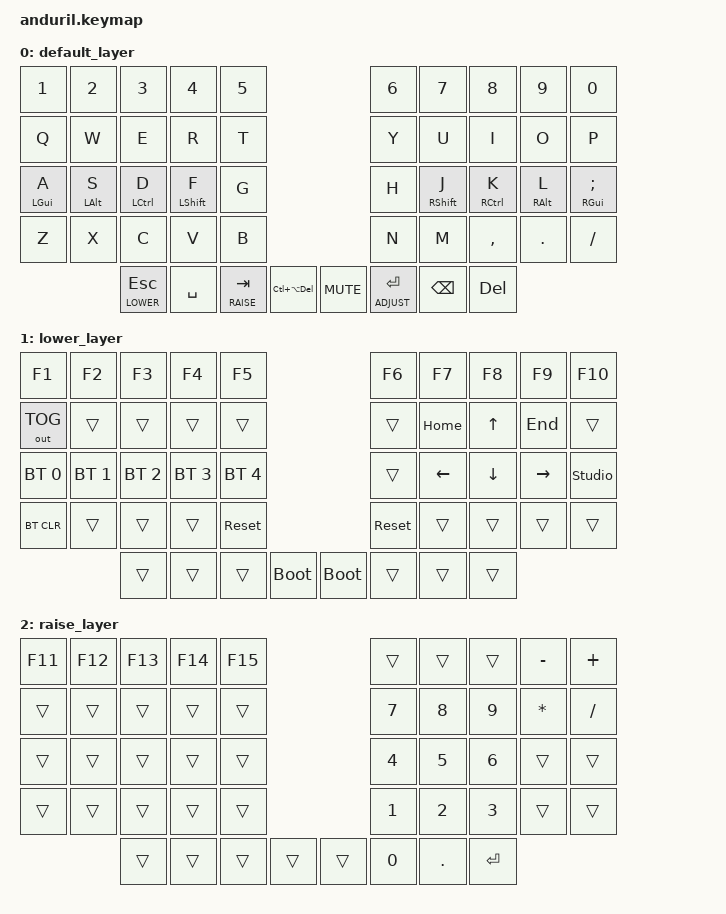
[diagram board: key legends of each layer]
/*
 * Copyright (c) 2024 Your Name
 *
 * SPDX-License-Identifier: MIT
 */

#include <behaviors.dtsi>
#include <dt-bindings/zmk/keys.h>
#include <dt-bindings/zmk/bt.h>

#define DEFAULT 0
#define LOWER   1
#define RAISE   2

/ {
    behaviors {
        // Home row mod tap settings
        hrm: home_row_mods {
            compatible = "zmk,behavior-hold-tap";
            label = "HOME_ROW_MODS";
            #binding-cells = <2>;
            tapping-term-ms = <200>;
            quick-tap-ms = <0>;
            flavor = "tap-preferred";
            bindings = <&kp>, <&kp>;
        };
        
        // Studio-specific unlock behavior
        studio_unlock: studio_unlock {
            compatible = "zmk,behavior-key-press";
            label = "STUDIO_UNLOCK";
            #binding-cells = <0>;
            bindings = <&kp LS(F6)>;
        };
    };

    keymap {
        compatible = "zmk,keymap";

        default_layer {
            // ------------------------------------------------------------------------------------------------------------
            // |  1  |  2  |  3   |  4   |  5   |                   |  6   |  7    |  8    |  9   |   0   |
            // |  Q  |  W  |  E   |  R   |  T   |                   |  Y   |  U    |  I    |  O   |   P   |
            // |  A  |  S  |  D   |  F   |  G   |                   |  H   |  J    |  K    |  L   |   ;   |
            // |  Z  |  X  |  C   |  V   |  B   | C/A/D|    | MUTE  |  N   |  M    |  ,    |  .   |   /   |
            //                    | ESC  | SPACE| TAB  |    | ENTER |  BS  |  DEL  | 

            bindings = <
//╭──────────────┬──────────────┬──────────────┬──────────────┬──────────────╮                                     ╭──────────────┬──────────────┬──────────────┬──────────────┬─────────────────────╮
        &kp N1      &kp N2          &kp N3          &kp N4          &kp N5                                             &kp N6           &kp N7          &kp N8          &kp N9          &kp N0
//├──────────────┼──────────────┼──────────────┼──────────────┼──────────────┤                                     ├──────────────┼──────────────┼──────────────┼──────────────┼─────────────────────┤
        &kp Q         &kp W            &kp E           &kp R            &kp T                                          &kp Y           &kp U            &kp I            &kp O            &kp P
//├──────────────┼──────────────┼──────────────┼──────────────┼──────────────┤                                     ├──────────────┼──────────────┼──────────────┼──────────────┼─────────────────────┤
     &hrm LGUI A   &hrm LALT S      &hrm LCTL D      &hrm LSHFT F     &kp G                                             &kp H       &hrm RSHFT J    &hrm RCTL K    &hrm RALT L     &hrm RGUI SEMI
//├──────────────┼──────────────┼──────────────┼──────────────┼──────────────┼─────────────────╮ ╭─────────────────┼──────────────┼──────────────┼──────────────┼──────────────┼─────────────────────┤ 
    &kp Z            &kp X            &kp C            &kp V            &kp B                                           &kp N           &kp M         &kp COMMA      &kp DOT         &kp FSLH
//╰──────────────┴──────────────┴──────────────┼──────────────┼──────────────┼─────────────────┤ ├─────────────────┼──────────────┼──────────────┼──────────────┴──────────────┴─────────────────────╯ 
                                  &lt LOWER ESC     &kp SPC     &lt RAISE TAB  &kp LC(LA(DEL))      &kp C_MUTE      &lt ADJUST RET    &kp BSPC        &kp DEL
//                              ╰──────────────┴──────────────┴──────────────┴─────────────────╯ ╰─────────────────┴──────────────┴──────────────┴──────────────╯
            >;
        };

        lower_layer {
            // ------------------------------------------------------------------------------------------------------------
            // |  1  |  2  |  3   |  4   |  5   |                   |  6   |  7    |  8    |  9   |   0   |
            // |  Q  |  W  |  E   |  R   |  T   |                   |  Y   |  U    |  I    |  O   |   P   |
            // |  A  |  S  |  D   |  F   |  G   |                   |  H   |  J    |  K    |  L   |   ;   |
            // |  Z  |  X  |  C   |  V   |  B   | C/A/D|    | MUTE  |  N   |  M    |  ,    |  .   |   /   |
            //                    | ESC  | SPACE| TAB  |    | ENTER |  BS  |  DEL  | 

            bindings = <
//╭──────────────┬──────────────┬──────────────┬──────────────┬──────────────╮                                     ╭──────────────┬──────────────┬──────────────┬──────────────┬─────────────────────╮
        &kp F1        &kp F2         &kp F3         &kp F4         &kp F5                                               &kp F6           &kp F7          &kp F8          &kp F9          &kp F10
//├──────────────┼──────────────┼──────────────┼──────────────┼──────────────┤                                     ├──────────────┼──────────────┼──────────────┼──────────────┼─────────────────────┤
    &out OUT_TOG       &trans         &trans         &trans         &trans                                               &trans           &kp HOME       &kp UP        &kp END          &trans
//├──────────────┼──────────────┼──────────────┼──────────────┼──────────────┼─────────────────╮ ╭─────────────────┼──────────────┼──────────────┼──────────────┼──────────────┼─────────────────────┤ 
    &bt BT_SEL 0  &bt BT_SEL 1   &bt BT_SEL 2   &bt BT_SEL 3    &bt BT_SEL 4                                            &trans         &kp LEFT       &kp DOWN        &kp RIGHT      &studio_unlock
//├──────────────┼──────────────┼──────────────┼──────────────┼──────────────┼─────────────────┤ ├─────────────────┼──────────────┼──────────────┼──────────────┼──────────────┼─────────────────────┤ 
    &bt BT_CLR        &trans         &trans         &trans        &sys_reset                                          &sys_reset         &trans          &trans          &trans          &trans
//╰──────────────┴──────────────┴──────────────┴──────────────┴──────────────┴─────────────────┤ ├─────────────────┴──────────────┴──────────────┴──────────────┴──────────────┴─────────────────────╯ 
                                    &trans         &trans         &trans        &bootloader          &bootloader       &trans           &trans          &trans
//                              ╰──────────────┴──────────────┴──────────────┴─────────────────╯ ╰─────────────────┴──────────────┴──────────────┴──────────────╯
            >;
        };

        raise_layer {
            // ------------------------------------------------------------------------------------------------------------
            // |  1  |  2  |  3   |  4   |  5   |                   |  6   |  7    |  8    |  9   |   0   |
            // |  Q  |  W  |  E   |  R   |  T   |                   |  Y   |  U    |  I    |  O   |   P   |
            // |  A  |  S  |  D   |  F   |  G   |                   |  H   |  J    |  K    |  L   |   ;   |
            // |  Z  |  X  |  C   |  V   |  B   | C/A/D|    | MUTE  |  N   |  M    |  ,    |  .   |   /   |
            //                    | ESC  | SPACE| TAB  |    | ENTER |  BS  |  DEL  | 

            bindings = <
//╭──────────────┬──────────────┬──────────────┬──────────────┬──────────────╮                                     ╭──────────────┬──────────────┬──────────────┬──────────────┬─────────────────────╮
        &kp F11       &kp F12        &kp F13        &kp F14        &kp F15                                              &trans           &trans          &trans      &kp MINUS      &kp PLUS
//├──────────────┼──────────────┼──────────────┼──────────────┼──────────────┤                                     ├──────────────┼──────────────┼──────────────┼──────────────┼─────────────────────┤
        &trans        &trans         &trans         &trans         &trans                                               &kp N7           &kp N8          &kp N9     &kp ASTERISK   &kp SLASH
//├──────────────┼──────────────┼──────────────┼──────────────┼──────────────┼─────────────────╮ ╭─────────────────┼──────────────┼──────────────┼──────────────┼──────────────┼─────────────────────┤ 
        &trans        &trans         &trans         &trans         &trans                                               &kp N4           &kp N5          &kp N6        &trans         &trans
//├──────────────┼──────────────┼──────────────┼──────────────┼──────────────┼─────────────────┤ ├─────────────────┼──────────────┼──────────────┼──────────────┼──────────────┼─────────────────────┤ 
        &trans        &trans         &trans         &trans         &trans                                               &kp N1           &kp N2          &kp N3        &trans         &trans
//╰──────────────┴──────────────┴──────────────┴──────────────┴──────────────┴─────────────────┤ ├─────────────────┴──────────────┴──────────────┴──────────────┴──────────────┴─────────────────────╯ 
                                  &trans           &trans          &trans       &trans               &trans             &kp N0          &kp DOT      &kp ENTER 
//                              ╰──────────────┴──────────────┴──────────────┴─────────────────╯ ╰─────────────────┴──────────────┴──────────────┴──────────────╯
            >;

        };
    };
};
